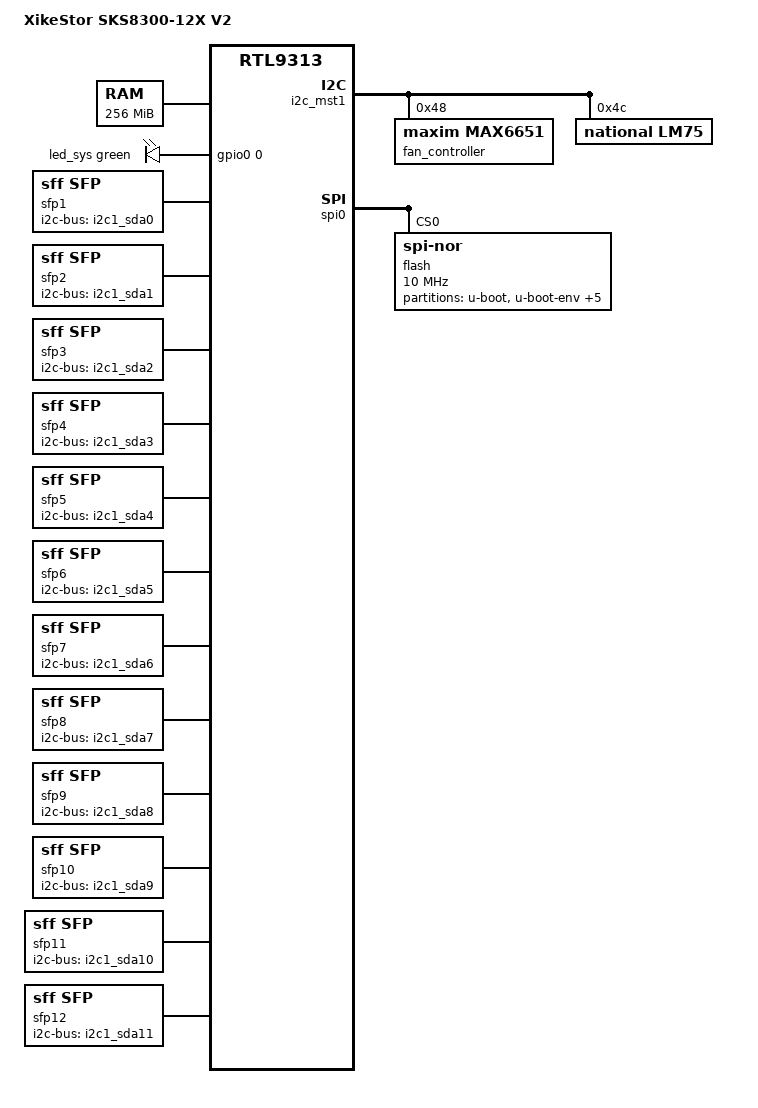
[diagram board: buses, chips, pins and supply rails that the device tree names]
// SPDX-License-Identifier: GPL-2.0-or-later

#include "rtl931x.dtsi"

#include <dt-bindings/gpio/gpio.h>
#include <dt-bindings/leds/common.h>
#include <dt-bindings/phy/phy.h>

/ {
	compatible = "xikestor,sks8300-12x-v2", "realtek,rtl9313-soc";
	model = "XikeStor SKS8300-12X V2";

	memory@0 {
		device_type = "memory";
		reg = <0x00000000 0x10000000>; /* 256 MiB */
	};

	aliases {
		led-boot = &led_sys;
		led-failsafe = &led_sys;
		led-running = &led_sys;
		led-upgrade = &led_sys;
	};

	leds {
		compatible = "gpio-leds";
                pinctrl-names = "default";
                pinctrl-0 = <&pinmux_disable_sys_led>;

		led_sys: led-0 {
			gpios = <&gpio0 0 GPIO_ACTIVE_HIGH>;
			color = <LED_COLOR_ID_GREEN>;
			function = LED_FUNCTION_STATUS;
		};
	};

	sfp1: sfp-p1 {
		compatible = "sff,sfp";
		i2c-bus = <&i2c1_sda0>;
	};

	sfp2: sfp-p2 {
		compatible = "sff,sfp";
		i2c-bus = <&i2c1_sda1>;
	};

	sfp3: sfp-p3 {
		compatible = "sff,sfp";
		i2c-bus = <&i2c1_sda2>;
	};

	sfp4: sfp-p4 {
		compatible = "sff,sfp";
		i2c-bus = <&i2c1_sda3>;
	};

	sfp5: sfp-p5 {
		compatible = "sff,sfp";
		i2c-bus = <&i2c1_sda4>;
	};

	sfp6: sfp-p6 {
		compatible = "sff,sfp";
		i2c-bus = <&i2c1_sda5>;
	};

	sfp7: sfp-p7 {
		compatible = "sff,sfp";
		i2c-bus = <&i2c1_sda6>;
	};

	sfp8: sfp-p8 {
		compatible = "sff,sfp";
		i2c-bus = <&i2c1_sda7>;
	};

	sfp9: sfp-p9 {
		compatible = "sff,sfp";
		i2c-bus = <&i2c1_sda8>;
	};

	sfp10: sfp-p10 {
		compatible = "sff,sfp";
		i2c-bus = <&i2c1_sda9>;
	};

	sfp11: sfp-p11 {
		compatible = "sff,sfp";
		i2c-bus = <&i2c1_sda10>;
	};

	sfp12: sfp-p12 {
		compatible = "sff,sfp";
		i2c-bus = <&i2c1_sda11>;
	};

	thermal_zones: thermal-zones {
		switch_thermal {
			polling-delay-passive = <2000>;
			polling-delay = <5000>;
			thermal-sensors = <&lm75>;

			trips {
				switch_idle: trip0 {
					temperature = <0>;
					hysteresis = <0>;
					type = "passive";
				};

				switch_low: trip1 {
					temperature = <35000>;
					hysteresis = <2000>;
					type = "active";
				};

				switch_medium: trip2 {
					temperature = <40000>;
					hysteresis = <2000>;
					type = "active";
				};

				switch_high: trip3 {
					temperature = <45000>;
					hysteresis = <2000>;
					type = "active";
				};

				switch_very_high: trip4 {
					temperature = <50000>;
					hysteresis = <2000>;
					type = "active";
				};

			};

			cooling-maps {
				map0 {
					trip = <&switch_idle>;
					cooling-device = <&fan_controller 0 0>;
				};

				map1 {
					trip = <&switch_low>;
					cooling-device = <&fan_controller 103 103>;
				};

				map2 {
					trip = <&switch_medium>;
					cooling-device = <&fan_controller 169 169>;
				};

				map3 {
					trip = <&switch_high>;
					cooling-device = <&fan_controller 235 235>;
				};

				map4 {
					trip = <&switch_very_high>;
					cooling-device = <&fan_controller 255 255>;
				};

			};
		};
	};
};

&i2c_mst1 {
	status = "okay";

	i2c1_sda0: i2c@0 {
		reg = <0>;

		fan_controller: fan-controller@48 {
			compatible = "maxim,max6651";
			reg = <0x48>;
			#cooling-cells = <2>;
                };

		lm75: lm75@4c {
			compatible = "national,lm75";
			reg = <0x4c>;
			#thermal-sensor-cells = <0>;
		};
	};
	i2c1_sda1: i2c@1 {
		reg = <1>;
	};
	i2c1_sda2: i2c@2 {
		reg = <2>;
	};
	i2c1_sda3: i2c@3 {
		reg = <3>;
	};
	i2c1_sda4: i2c@4 {
		reg = <4>;
	};
	i2c1_sda5: i2c@5 {
		reg = <5>;
	};
	i2c1_sda6: i2c@6 {
		reg = <6>;
	};
	i2c1_sda7: i2c@7 {
		reg = <7>;
	};
	i2c1_sda8: i2c@8 {
		reg = <8>;
	};
	i2c1_sda9: i2c@9 {
		reg = <9>;
	};
	i2c1_sda10: i2c@a {
		reg = <10>;
	};
	i2c1_sda11: i2c@b {
		reg = <11>;
	};

};

&spi0 {
	status = "okay";

	flash@0 {
		compatible = "jedec,spi-nor";
		reg = <0>;
		spi-max-frequency = <10000000>;

		partitions {
			compatible = "fixed-partitions";
			#address-cells = <1>;
			#size-cells = <1>;

			/* stock is LOADER */
			partition@0 {
				label = "u-boot";
				reg = <0x0 0x140000>;
				read-only;
			};

                        /* stock is BDINFO */
                        partition@140000 {
                                label = "u-boot-env";
                                reg = <0x140000 0x10000>;
                        };

                        /* stock is SYSINFO */
                        partition@150000 {
                                label = "u-boot-env2";
                                reg = <0x150000 0x10000>;
                        };

                        /* stock is JFFS2_CFG */
                        partition@160000 {
                                label = "JFFS2_CFG";
                                reg = <0x160000 0xa0000>;
                        };

                        /* stock is JFFS2_LOG */
                        partition@200000 {
                                label = "JFFS2_LOG";
                                reg = <0x200000 0x400000>;
                        };

                        /* stock is RUNTIME1 */
                        partition@600000 {
                                compatible = "openwrt,uimage", "denx,uimage";
                                label = "firmware";
                                reg = <0x600000 0xd00000>;
                                openwrt,offset = <0x10>;
                        };

                        /* stock is RUNTIME2 */
                        partition@1300000 {
                                label = "runtime2";
                                reg = <0x1300000 0xd00000>;
				read-only;
                        };
		};
	};
};

&switch0 {
	ethernet-ports {
		#address-cells = <1>;
		#size-cells = <0>;

		SWITCH_PORT_SFP(0, 1, 2, 0, 1)
		SWITCH_PORT_SFP(8, 2, 3, 0, 2)
		SWITCH_PORT_SFP(16, 3, 4, 0, 3)
		SWITCH_PORT_SFP(24, 4, 5, 0, 4)
		SWITCH_PORT_SFP(32, 5, 6, 0, 5)
		SWITCH_PORT_SFP(40, 6, 7, 0, 6)
		SWITCH_PORT_SFP(48, 7, 8, 0, 7)
		SWITCH_PORT_SFP(50, 8, 9, 0, 8)
		SWITCH_PORT_SFP(52, 9, 10, 0, 9)
		SWITCH_PORT_SFP(53, 10, 11, 0, 10)
		SWITCH_PORT_SFP(54, 11, 12, 0, 11)
		SWITCH_PORT_SFP(55, 12, 13, 0, 12)

		/* CPU port */
		port@56 {
			ethernet = <&ethernet0>;
			reg = <56>;
			phy-mode = "internal";
			fixed-link {
				speed = <1000>;
				full-duplex;
			};
		};
	};
};

&serdes2 {
	tx-polarity = <PHY_POL_INVERT>;
};

&serdes3 {
	tx-polarity = <PHY_POL_INVERT>;
};

&serdes4 {
	tx-polarity = <PHY_POL_INVERT>;
};

&serdes5 {
	tx-polarity = <PHY_POL_INVERT>;
};

&serdes6 {
	tx-polarity = <PHY_POL_INVERT>;
};

&serdes7 {
	tx-polarity = <PHY_POL_INVERT>;
};

&serdes8 {
	tx-polarity = <PHY_POL_INVERT>;
};

&serdes9 {
	tx-polarity = <PHY_POL_INVERT>;
};

&serdes10 {
	tx-polarity = <PHY_POL_INVERT>;
};

&serdes11 {
	tx-polarity = <PHY_POL_INVERT>;
};

&serdes12 {
	tx-polarity = <PHY_POL_INVERT>;
};

&serdes13 {
	tx-polarity = <PHY_POL_INVERT>;
};
